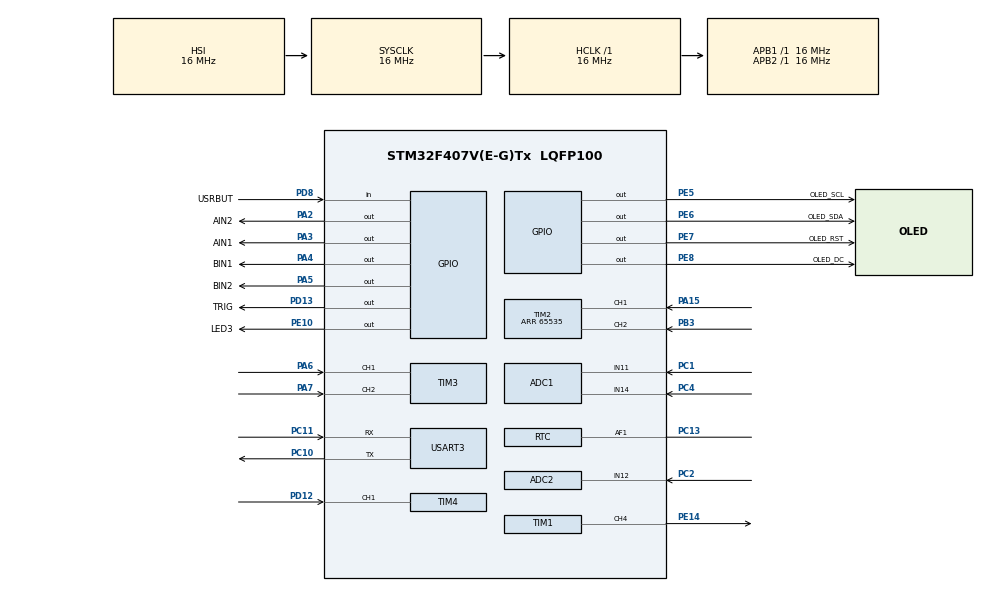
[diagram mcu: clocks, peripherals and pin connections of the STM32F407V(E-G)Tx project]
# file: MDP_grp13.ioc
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ADC1.Channel-0\#ChannelRegularConversion=ADC_CHANNEL_11
ADC1.NbrOfConversionFlag=1
ADC1.Rank-0\#ChannelRegularConversion=1
ADC1.SamplingTime-0\#ChannelRegularConversion=ADC_SAMPLETIME_3CYCLES
ADC1.master=1
ADC2.Channel-0\#ChannelRegularConversion=ADC_CHANNEL_12
ADC2.NbrOfConversionFlag=1
ADC2.Rank-0\#ChannelRegularConversion=1
ADC2.SamplingTime-0\#ChannelRegularConversion=ADC_SAMPLETIME_3CYCLES
FREERTOS.Tasks01=LED_Toggle,40,128,StartDefaultTask,Default,NULL,Dynamic,NULL,NULL;MotorTask,47,128,motor,Default,NULL,Dynamic,NULL,NULL
Mcu.Family=STM32F4
Mcu.Name=STM32F407V(E-G)Tx
Mcu.Package=LQFP100
NVIC.PriorityGroup=NVIC_PRIORITYGROUP_4
NVIC.TIM4_IRQn=true\:5\:0\:false\:false\:true\:true\:true\:true
NVIC.USART3_IRQn=true\:5\:0\:false\:false\:true\:true\:true\:true
PA13.Mode=Serial_Wire
PA13.Signal=SYS_JTMS-SWDIO
PA14.Mode=Serial_Wire
PA14.Signal=SYS_JTCK-SWCLK
PA15.Signal=S_TIM2_CH1_ETR
PA2.GPIO_Label=AIN2
PA2.GPIO_Speed=GPIO_SPEED_FREQ_HIGH
PA2.Signal=GPIO_Output
PA3.GPIO_Label=AIN1
PA3.GPIO_Speed=GPIO_SPEED_FREQ_HIGH
PA3.Signal=GPIO_Output
PA4.GPIO_Label=BIN1
PA4.GPIO_Speed=GPIO_SPEED_FREQ_HIGH
PA4.Signal=GPIO_Output
PA5.GPIO_Label=BIN2
PA5.GPIO_Speed=GPIO_SPEED_FREQ_HIGH
PA5.Signal=GPIO_Output
PA6.Signal=S_TIM3_CH1
PA7.Signal=S_TIM3_CH2
PB3.Signal=S_TIM2_CH2
PC1.Signal=ADCx_IN11
PC10.Mode=Asynchronous
PC10.Signal=USART3_TX
PC11.Mode=Asynchronous
PC11.Signal=USART3_RX
PC13-ANTI_TAMP.Mode=Calibration_1Hz
PC13-ANTI_TAMP.Signal=RTC_AF1
PC2.Signal=ADCx_IN12
PC4.Signal=ADCx_IN14
PC6.GPIO_Label=PWMA
PC6.Signal=S_TIM8_CH1
PC7.GPIO_Label=PWMB
PC7.Signal=S_TIM8_CH2
PD12.Signal=S_TIM4_CH1
PD13.GPIO_Label=TRIG
PD13.Signal=GPIO_Output
PD8.GPIO_Label=USRBUT
PD8.Signal=GPIO_Input
PE10.GPIO_Label=LED3
PE10.Signal=GPIO_Output
PE14.Signal=S_TIM1_CH4
PE5.GPIO_Label=OLED_SCL
PE5.Signal=GPIO_Output
PE6.GPIO_Label=OLED_SDA
PE6.Signal=GPIO_Output
PE7.GPIO_Label=OLED_RST
PE7.Signal=GPIO_Output
PE8.GPIO_Label=OLED_DC
PE8.Signal=GPIO_Output
ProjectManager.HeapSize=0x200
ProjectManager.StackSize=0x400
ProjectManager.TargetToolchain=STM32CubeIDE
RCC.AHBFreq_Value=16000000
RCC.APB1Freq_Value=16000000
RCC.APB2Freq_Value=16000000
RCC.CortexFreq_Value=16000000
RCC.HSE_VALUE=25000000
RCC.HSI_VALUE=16000000
RCC.LSE_VALUE=32768
RCC.SYSCLKFreq_VALUE=16000000
RCC.VCOOutputFreq_Value=192000000
SH.ADCx_IN11.0=ADC1_IN11,IN11
SH.ADCx_IN12.0=ADC2_IN12,IN12
SH.ADCx_IN14.0=ADC1_IN14,IN14
SH.S_TIM1_CH4.0=TIM1_CH4,PWM Generation4 CH4
SH.S_TIM2_CH1_ETR.0=TIM2_CH1,Encoder_Interface
SH.S_TIM2_CH2.0=TIM2_CH2,Encoder_Interface
SH.S_TIM3_CH1.0=TIM3_CH1,Encoder_Interface
SH.S_TIM3_CH2.0=TIM3_CH2,Encoder_Interface
SH.S_TIM4_CH1.0=TIM4_CH1,Input_Capture1_from_TI1
SH.S_TIM8_CH1.0=TIM8_CH1
SH.S_TIM8_CH2.0=TIM8_CH2
TIM1.AutoReloadPreload=TIM_AUTORELOAD_PRELOAD_ENABLE
TIM1.Channel-PWM\ Generation4\ CH4=TIM_CHANNEL_4
TIM1.Period=2000
TIM1.Prescaler=160
TIM2.EncoderMode=TIM_ENCODERMODE_TI12
TIM2.IC1Filter=10
TIM2.IC2Filter=10
TIM2.Period=65535
TIM3.EncoderMode=TIM_ENCODERMODE_TI12
TIM3.IC1Filter=10
TIM3.IC2Filter=10
TIM4.Channel-Input_Capture1_from_TI1=TIM_CHANNEL_1
TIM4.Period=0xffff-1
TIM4.Prescaler=16-1
TIM5.Prescaler=16-1
TIM8.Channel-PWM\ Generation1\ No\ Output=TIM_CHANNEL_1
TIM8.Channel-PWM\ Generation2\ No\ Output=TIM_CHANNEL_2
TIM8.Period=7199
USART3.VirtualMode=VM_ASYNC
VP_FREERTOS_VS_CMSIS_V2.Mode=CMSIS_V2
VP_RTC_VS_RTC_Activate.Mode=RTC_Enabled
VP_TIM1_VS_ClockSourceINT.Mode=Internal
VP_TIM5_VS_ClockSourceINT.Mode=Internal
VP_TIM8_VS_no_output1.Mode=PWM Generation1 No Output
VP_TIM8_VS_no_output2.Mode=PWM Generation2 No Output
board=custom

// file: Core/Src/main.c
/* USER CODE BEGIN Header */
/**
  ******************************************************************************
  * @file           : main.c
  * @brief          : Main program body
  ******************************************************************************
  * @attention
  *
  * Copyright (c) 2022 STMicroelectronics.
  * All rights reserved.
  *
  * This software is licensed under terms that can be found in the LICENSE file
  * in the root directory of this software component.
  * If no LICENSE file comes with this software, it is provided AS-IS.
  *
  *openocd -f openocd.cfg
  *
  *from connection.STM_Connection import*
  *stm = STMConnection()
  *stm.connect_STM()
  *stm.thread_send(b"0")
  *
  *sudo sync && sudo systemctl poweroff
  ******************************************************************************
  */
/* USER CODE END Header */
#include "main.h"
#include "cmsis_os.h"

/* USER CODE BEGIN Includes */
#include "oled.h"
#include "math.h"
#include "PID.h"
#include "profile.h"
#include <time.h>
/* USER CODE END Includes */

/* USER CODE BEGIN PD */
/* PID defines */
#define CMPERREV 0.0132f
#define CMPERREVTURN 0.0141f
#define PID_KP 20000.0f
#define PID_KI 1000.0f
#define PID_KD 0.0f
#define LEFT 108
#define CENTER 149
#define RIGHT 227
#define PWMM 54.0f
#define PWMC 310.0f
#define TURNRATIO 0.8f
#define CIRCUM 305.0f

/* Motion profile defines */
#define AMAX 20.0f //Maximum acceleration
#define VMAX 35.0f //Maximum velocity

#define AMAXT 15.0f
#define VMAXT 25.0f

/* USER CODE END PD */

ADC_HandleTypeDef hadc1;
ADC_HandleTypeDef hadc2;

RTC_HandleTypeDef hrtc;

TIM_HandleTypeDef htim1;
TIM_HandleTypeDef htim2;
TIM_HandleTypeDef htim3;
TIM_HandleTypeDef htim4;
TIM_HandleTypeDef htim5;
TIM_HandleTypeDef htim8;

UART_HandleTypeDef huart3;

/* Definitions for LED_Toggle */
osThreadId_t LED_ToggleHandle;
const osThreadAttr_t LED_Toggle_attributes = {
  .name = "LED_Toggle",
  .stack_size = 128 * 4,
  .priority = (osPriority_t) osPriorityHigh,
};
/* Definitions for MotorTask */
osThreadId_t MotorTaskHandle;
const osThreadAttr_t MotorTask_attributes = {
  .name = "MotorTask",
  .stack_size = 128 * 4,
  .priority = (osPriority_t) osPriorityHigh7,
};

void SystemClock_Config(void);
static void MX_GPIO_Init(void);
static void MX_TIM8_Init(void);
static void MX_TIM2_Init(void);
static void MX_TIM1_Init(void);
static void MX_TIM3_Init(void);
static void MX_TIM4_Init(void);
static void MX_USART3_UART_Init(void);
static void MX_ADC1_Init(void);
static void MX_ADC2_Init(void);
static void MX_RTC_Init(void);
static void MX_TIM5_Init(void);
void StartDefaultTask(void *argument);
void motor(void *argument);

/* USER CODE BEGIN PFP */
void fastestCar();
void PIDmotor(float);
int motorCont(int speedL, int speedR, char dirL, char dirR, double dist);
void degTurn(int);
void forward(int);
void reverse(int);
void spotTurn(int);

/* USER CODE END PFP */

/* USER CODE BEGIN 0 */

int16_t currentLeft, currentRight;
float fLeft,fRight;
int16_t diffl = 0, diffr = 0, avg = 0;
int32_t tick = 0;
uint8_t display[20];
/* Ultrasonic sensor */
uint32_t IC_Val1 = 0;
uint32_t IC_Val2 = 0;
uint32_t Difference = 0;
int Is_First_Captured = 0;  // boolean function
uint16_t Distance = 0;
uint16_t uDistCheck1 = 0; uDistCheck2 = 0; uDistFinal = 0;
uint8_t ultra[20];
/* UART */
uint8_t aRxBuffer[1];
/* IR */
//uint32_t ir1Dist = 0;
uint32_t ir1Dist = 0;
uint32_t ir2Dist = 0;
uint32_t adc1;
uint32_t adc2;
float outLeft =0;
float outRight=0;
float errorLeft=0;
float errorRight=0;
float currDist;
float velocityLeft=0;
float velocityRight=0;
float distanceLeft=0;
float distanceRight=0;
float prePWMLeft;
float prePWMRight;
float pwmLeft = 1800;
float pwmRight = 1500;
float acc;
float vel;
float disp;
float constDisp;

/* Timer variables */
float startSec;
float currSec;

void delay(uint16_t time){  //provide us delay
	__HAL_TIM_SET_COUNTER(&htim4, 0);
	while(__HAL_TIM_GET_COUNTER(&htim4) < time);
}

void HAL_TIM_IC_CaptureCallback(TIM_HandleTypeDef *htim)		//For HCSR04_Read();
{
	if (htim->Channel == HAL_TIM_ACTIVE_CHANNEL_1)  // if the interrupt source is channel1
	{
		if (Is_First_Captured==0) // if the first value is not captured
		{
			IC_Val1 = HAL_TIM_ReadCapturedValue(htim, TIM_CHANNEL_1); // read the first value
			Is_First_Captured = 1;  // set the first captured as true
			// Now change the polarity to falling edge
			__HAL_TIM_SET_CAPTUREPOLARITY(htim, TIM_CHANNEL_1, TIM_INPUTCHANNELPOLARITY_FALLING);
		}

		else if (Is_First_Captured==1)   // if the first is already captured
		{
			IC_Val2 = HAL_TIM_ReadCapturedValue(htim, TIM_CHANNEL_1);  // read second value
			__HAL_TIM_SET_COUNTER(htim, 0);  // reset the counter

			if (IC_Val2 > IC_Val1) {
				Difference = IC_Val2-IC_Val1;
			}

			else if (IC_Val1 > IC_Val2) {
				Difference = (0xffff - IC_Val1) + IC_Val2;
			}

			Distance = Difference * .034/2;
			Is_First_Captured = 0; // set it back to false

			// set polarity to rising edge
			__HAL_TIM_SET_CAPTUREPOLARITY(htim, TIM_CHANNEL_1, TIM_INPUTCHANNELPOLARITY_RISING);
			__HAL_TIM_DISABLE_IT(&htim4, TIM_IT_CC1);
		}
	}
}

uint16_t HCSR04_Read (void)		//Read Ultrasonic Distance
{
	HAL_GPIO_WritePin(TRIG_GPIO_Port, TRIG_Pin, GPIO_PIN_SET);  // pull the TRIG pin HIGH
	delay(10);  // wait for 10 us
	HAL_GPIO_WritePin(TRIG_GPIO_Port, TRIG_Pin, GPIO_PIN_RESET);  // pull the TRIG pin low

	__HAL_TIM_ENABLE_IT(&htim4, TIM_IT_CC1);
	return Distance;
}

uint16_t ultraDistCheck (void)
{
	uDistCheck1 = HCSR04_Read();
	HAL_Delay(100);
	uDistCheck2 = HCSR04_Read();
	HAL_Delay(100);
	while (abs(uDistCheck1 - uDistCheck2) >= 5) {
		uDistCheck1 = HCSR04_Read();
		HAL_Delay(100);
		uDistCheck2 = HCSR04_Read();
		HAL_Delay(100);
	}
	uDistFinal = (uDistCheck1 + uDistCheck2)/2;
	return uDistFinal;
}

uint32_t irLeft (void) { //ADC1 (a bit more wonky)
	adc1 = 0;
	float V = 0;
	HAL_ADC_Start(&hadc1);
	adc1 = HAL_ADC_GetValue(&hadc1);
	V = (float)adc1/1000;

	if (V <= 0.5) V = 0.5; //cap at 80 cm
	else if (V >= 2.84) V = 2.84; //cap at 10 cm

	ir1Dist = 34.96332 * pow(V, -1.19878);
	return ir1Dist;
}

uint32_t irRight (void) { //ADC2
	adc2 = 0;
	float V = 0;
	HAL_ADC_Start(&hadc2);
	adc2 = HAL_ADC_GetValue(&hadc2);
	V = (float)adc2/1000;

	if (V <= 0.42) V = 0.44; //cap at 80 cm
	else if (V >= 2.9) V = 2.95; //cap at 10 cm

	ir2Dist = 32.6167 * pow(V, -1.0928);
	return ir2Dist;
}

void waitCmd (void) {
	while (*aRxBuffer == 'Z') {
		HAL_UART_Receive_IT(&huart3, (uint8_t *)aRxBuffer, 1);
		HAL_Delay(100);
	}
}

void fastestCar(){
	/* (1) Start straight line loop */
	//maybe can move 40cm first
	PIDmotor(40);

	while(ultraDistCheck()>40){
		/* Increase RPM until ??? */

		/* Break to new loop for slowing down */
//		if(ultraDistCheck()<=40){
//			break;
//		}
	}

	/* (2) Slow down car to prepare for turning */
	while(1){
		//Slow down code

		if(ultraDistCheck()<=20){	//turn right
//			htim1.Instance->CCR4 = RIGHT;
//			HAL_Delay(1000);
//			htim1.Instance->CCR4 = LEFT;
			fastCarTurn(1);
			break;
		}
	}

	/* (3) Move until near end of obstacle's corner */
	int x=0;
	while(1){
		/* Constant Speed & calculate dist moved */

		irLeft();
		if(irLeft()>=30){	//turn 180?
//			htim1.Instance->CCR4 = LEFT;
//			HAL_Delay(1000);
//			htim1.Instance->CCR4 = CENTER;
//			HAL_Delay(1000);
//			htim1.Instance->CCR4 = LEFT;
//			HAL_Delay(1000);
//			htim1.Instance->CCR4 = RIGHT;
			fastCarTurn(2);
			break;
		}

	}
	//see if nd correct to be straight

	/* (4) Move 50cm */
	PIDmotor(50);

	/* (5) Move straight until centre of obstacle */
	//Calculate Dist to move
	int y = 60 - x - 10;	//extra to make space for turning
	//Move Dist
	PIDmotor(y);

	//Turn Right
	fastCarTurn(1);

	/* (6) Move back to parking spot */
	while(1){
		//Move straight

		if(ultraDistCheck() <= 20){
			//Stop
			break;
		}
	}
}

void fastCarTurn(int mode) {
	switch (mode) {
	case 1:	//90 degree
		htim1.Instance->CCR4 = LEFT;
		HAL_Delay(500);
		htim1.Instance->CCR4 = RIGHT;
		HAL_Delay(500);
		PIDturn(90,2);
		PIDmotor(6);
		break;
	case 2: //180 degree
		htim1.Instance->CCR4 = LEFT;
		HAL_Delay(500);
		htim1.Instance->CCR4 = RIGHT;
		HAL_Delay(500);
//		PIDturn(180,2);
		break;
	}
}

void corrMotor(){
		int x = ultraDistCheck();
		int y = abs(22 - x);
		if (x > 22 && x < 40) {
			PIDmotor(y);
		} else if (x < 22) {
			PIDmotor(-y);
		}
}

void correctAngle(int mode) {
	switch(mode) {
	case 1:	//leftIR detect
		htim1.Instance->CCR4 = RIGHT;
		HAL_Delay(150);
		motorCont(1000, 1000, 'R', 'R', 1);
		htim1.Instance->CCR4 = LEFT;
		HAL_Delay(150);
		motorCont(1000, 1000, 'F', 'F', 1);
		htim1.Instance->CCR4 = CENTER;
		break;
	case 2:	//rightIR detect
		htim1.Instance->CCR4 =LEFT;
		HAL_Delay(150);
		motorCont(1000, 1000, 'R', 'R', 1);
		htim1.Instance->CCR4 = RIGHT;
		HAL_Delay(150);
		motorCont(1000, 1000, 'F', 'F', 1);
		htim1.Instance->CCR4 = CENTER;
		break;
	}
	HAL_Delay(50);

	if(ultraDistCheck() < 20){
		PIDmotor(-3);
	}
	if(ultraDistCheck() > 20 && uDistFinal < 40){
		PIDmotor(3);
	}
}

void correction(){
	*aRxBuffer = 'Z';
	int mode;
	irLeft(); irRight();
	if (irLeft() < 35 || irRight() < 35 || ultraDistCheck() > 40) {

		//--move forward until ir sense || cap 3 movements--
		for (int i = 0; i<3; i++){
			irLeft(); irRight();
			if (irLeft() < 35 || irRight() < 35 || ultraDistCheck() < 20) {
				break;
			}
			PIDmotor(5);
		}

		//--set mode--
		uint32_t L = irLeft(); 	//to make below coherent
		uint32_t R = irRight();
		if (L < 35 && R < 35) {	// both detected
			//can it judge base on positioning of obstacles on algo?
		}
		else if (L < 35 && L < R) {mode = 1;}
		else if (R < 35 && R < L) {mode = 2;}

		//--start angle correction until no detect || cap 3 movements--
		int cnt = 5;
		if (mode == 1) {
			while (cnt > 0 && irLeft() < 35) {
				correctAngle(1);
				cnt--;
				irLeft();
			}
		} else if (mode == 2) {
			while (cnt > 0 && irRight() < 35) {
				correctAngle(2);
				cnt--;
				irRight();
			}
		}
	}
	corrMotor();
}

void motorSpeed(float left, float right){
	if(left<0){
		HAL_GPIO_WritePin(GPIOA, AIN1_Pin, GPIO_PIN_RESET);
		HAL_GPIO_WritePin(GPIOA, AIN2_Pin, GPIO_PIN_SET);
		left = fabs(left);
	}
	else if(left>0){
		HAL_GPIO_WritePin(GPIOA, AIN1_Pin, GPIO_PIN_SET);
		HAL_GPIO_WritePin(GPIOA, AIN2_Pin, GPIO_PIN_RESET);
	}
	if(right<0){
		HAL_GPIO_WritePin(GPIOA, BIN1_Pin, GPIO_PIN_RESET);
		HAL_GPIO_WritePin(GPIOA, BIN2_Pin, GPIO_PIN_SET);
		right = fabs(right);
	}
	else if(right>0){
		HAL_GPIO_WritePin(GPIOA, BIN1_Pin, GPIO_PIN_SET);
		HAL_GPIO_WritePin(GPIOA, BIN2_Pin, GPIO_PIN_RESET);
	}
	__HAL_TIM_SetCompare(&htim8,TIM_CHANNEL_1, left);
	__HAL_TIM_SetCompare(&htim8,TIM_CHANNEL_2, right);
}

/* ========================= PID Functions ========================= */

/* Read current encoder values */
void readEncoder(){ //Forward = Positive, Backwards = negative
	currentLeft = __HAL_TIM_GET_COUNTER(&htim2);
	fLeft = currentLeft *-1*CMPERREV;

	currentRight = __HAL_TIM_GET_COUNTER(&htim3);
	fRight = currentRight * CMPERREV;
}

/* Time value functions, in seconds with decimals */
float getTime(){
	return __HAL_TIM_GET_COUNTER(&htim5)/1e6f;
}

void timeStart(){
	startSec = getTime();
}

float timeNow(){
	currSec = getTime() - startSec;
	return currSec;
}

float forwardFeed(float vel){
	return vel*PWMM+PWMC;
}

/* Master function for motor with PID control */
void PIDmotor(float setDist){

	/* Turn servo to extreme end before centering for higher accuracy */
	htim1.Instance->CCR4 = LEFT;
	HAL_Delay(500);
	htim1.Instance->CCR4 = CENTER+3;
	HAL_Delay(500);

	/* Set UARTBuffer to default value */
	*aRxBuffer = 'Z';

	/* Set distance of motors */
	float setDistLeft  = setDist;
	float setDistRight = setDist;

	/* Initialise PID Controllers */
	PIDController pidLeft = {PID_KP,PID_KI,PID_KD,0,-3000,3000,-150,150,prePWMLeft,1.0f};
	PIDController pidRight ={PID_KP,PID_KI,PID_KD,0,-3000,3000,-150,150,prePWMRight,1.0f};
	Profile profileLeft;
	Profile profileRight;

	/* Initialise and set Encoder to 0 */
	HAL_TIM_Base_Start(&htim5);
	HAL_TIM_Encoder_Start(&htim2, TIM_CHANNEL_ALL);		//left encoder(MotorA) start
	HAL_TIM_Encoder_Start(&htim3, TIM_CHANNEL_ALL);		//right encoder(MotorB) start
	__HAL_TIM_SET_COUNTER(&htim2,0);
	__HAL_TIM_SET_COUNTER(&htim3,0);

	/* Initialise PID controllers and profiles */
	PIDController_Init(&pidLeft);
	PIDController_Init(&pidRight);

	Profile_Init(&profileLeft);
	Profile_Init(&profileRight);
	float time = trapezoidal(&profileLeft, setDistLeft, AMAX, VMAX);
	trapezoidal(&profileRight, setDistRight, AMAX, VMAX);
	constDisp = profileRight.constDisp;

	timeStart();
	while(timeNow()<time){

		/* Take current encoder values */
		readEncoder();
		currProfile(&profileLeft, currSec);
		currProfile(&profileRight, currSec);

		/* Calculate feed forward of motors */
		prePWMLeft=forwardFeed(profileLeft.currVel);
		prePWMRight=forwardFeed(profileRight.currVel);

		/* For debug purposes */
		distanceLeft = profileLeft.disp;
		distanceRight = profileRight.disp;
		acc = profileLeft.currAcc;
		vel = profileRight.currVel;
		disp = profileLeft.currDisp;

		/* Compute new control signal */
		outLeft = PIDController_Update(&pidLeft, profileLeft.currDisp, fLeft, prePWMLeft);
		outRight = PIDController_Update(&pidRight, profileRight.currDisp, fRight, prePWMRight);

		/* Update new values to motors */
		motorSpeed(outLeft, outRight);
		errorLeft = pidLeft.prevError;
		errorRight = pidRight.prevError;
	}

	/* Stop Motor */
	motorSpeed(0,0);

	/* Reset Encoders value */
	__HAL_TIM_SET_COUNTER(&htim2,0);
	__HAL_TIM_SET_COUNTER(&htim3,0);
}

/* Calculate turn ratio */
float calculateTurn(float dist){
	//return ((dist / (2 * 3.14)) - 16) / (dist / (2 *3.14));
	return 0.793;
}

/* Read encoder values for turn */
void readEncoderTurn(){ //Forward = Positive, Backwards = negative
	currentLeft = __HAL_TIM_GET_COUNTER(&htim2);
	fLeft = currentLeft *-1*CMPERREVTURN;

	currentRight = __HAL_TIM_GET_COUNTER(&htim3);
	fRight = currentRight * CMPERREVTURN;
}

void PIDturn(float degree, int turn){

	/* Set UARTBuffer to default value */
	*aRxBuffer = 'Z';

	/* Calibrate motors */
	float setDist = CIRCUM * (degree/360);
	float turnRatio = calculateTurn(CIRCUM);

	/* Initialise PID Controllers */
	PIDController pidLeft = {PID_KP,PID_KI,PID_KD,0,-3000,3000,-150,150,prePWMLeft,1.0f};
	PIDController pidRight ={PID_KP,PID_KI,PID_KD,0,-3000,3000,-150,150,prePWMRight,1.0f};
	Profile profileLeft;
	Profile profileRight;

	/* Initialise and set Encoder to 0 */
	HAL_TIM_Base_Start(&htim5);
	HAL_TIM_Encoder_Start(&htim2, TIM_CHANNEL_ALL);		//left encoder(MotorA) start
	HAL_TIM_Encoder_Start(&htim3, TIM_CHANNEL_ALL);		//right encoder(MotorB) start
	__HAL_TIM_SET_COUNTER(&htim2,0);
	__HAL_TIM_SET_COUNTER(&htim3,0);

	/* Initialise PID controllers and profiles */
	PIDController_Init(&pidLeft);
	PIDController_Init(&pidRight);

	/* if right turn does not achieve 90 degree, set a higher set distance */
	if(turn==2)
		setDist = setDist * 1.01;

	/* Initialise motion profile and get total time for movement */
	Profile_Init(&profileLeft);
	float time = trapezoidal(&profileLeft, setDist, AMAXT, VMAXT);

	timeStart();
	while(timeNow()<time){

		/* Take current encoder values */
		readEncoderTurn();
		currProfile(&profileLeft, currSec);

		/* Compute new control signal */
		if(turn==1){ //Left Turn

			/* Constantly calculate the correct feed forward */
			prePWMLeft=forwardFeed(profileLeft.currVel * turnRatio);
			prePWMRight=forwardFeed(profileLeft.currVel);

			/* Reduce inner wheel distance and speed for turning */
			distanceLeft = profileLeft.currDisp * turnRatio;
			distanceRight = profileLeft.currDisp;

			outLeft = PIDController_Update(&pidLeft, distanceLeft, fLeft, prePWMLeft);
			outRight = PIDController_Update(&pidRight, distanceRight, fRight, prePWMRight);

			/* Update new values to motors */
			motorSpeed(outLeft, outRight);
			errorLeft = pidLeft.prevError;
			errorRight = pidRight.prevError;
		}
		else{

			prePWMLeft=forwardFeed(profileLeft.currVel);
			prePWMRight=forwardFeed(profileLeft.currVel * turnRatio);
			distanceLeft = profileLeft.currDisp;
			distanceRight = profileLeft.currDisp * turnRatio;

			outLeft = PIDController_Update(&pidLeft, distanceLeft, fLeft, prePWMLeft);
			outRight = PIDController_Update(&pidRight, distanceRight, fRight, prePWMRight);

			/* Update new values to motors */
			motorSpeed(outLeft, outRight);
			errorLeft = pidLeft.prevError;
			errorRight = pidRight.prevError;
			}
	}

	/* Stop Motor */
	motorSpeed(0,0);

	/* Reset Encoders value */
	__HAL_TIM_SET_COUNTER(&htim2,0);
	__HAL_TIM_SET_COUNTER(&htim3,0);
}

//Master function for image recognition motor control
int motorCont(int speedL, int speedR, char dirL, char dirR, double dist){
	*aRxBuffer = 'Z';
	//declaration
	HAL_TIM_Encoder_Start(&htim2, TIM_CHANNEL_ALL);		//left encoder(MotorA) start
	HAL_TIM_Encoder_Start(&htim3, TIM_CHANNEL_ALL);		//right encoder(MotorB) start
	currentLeft = __HAL_TIM_GET_COUNTER(&htim2);
	currentRight = __HAL_TIM_GET_COUNTER(&htim3);
	tick = HAL_GetTick();
	double encDist = dist * 72;

	//Select direction of motor//
	switch(dirL){
		case 'F':
			HAL_GPIO_WritePin(GPIOA, AIN1_Pin, GPIO_PIN_SET);
			HAL_GPIO_WritePin(GPIOA, AIN2_Pin, GPIO_PIN_RESET);
			break;

		case 'R':
			HAL_GPIO_WritePin(GPIOA, AIN1_Pin, GPIO_PIN_RESET);
			HAL_GPIO_WritePin(GPIOA, AIN2_Pin, GPIO_PIN_SET);
			break;
	}

	switch(dirR){
		case 'F':
			HAL_GPIO_WritePin(GPIOA, BIN1_Pin, GPIO_PIN_SET);
			HAL_GPIO_WritePin(GPIOA, BIN2_Pin, GPIO_PIN_RESET);
			break;

		case 'R':
			HAL_GPIO_WritePin(GPIOA, BIN1_Pin, GPIO_PIN_RESET);
			HAL_GPIO_WritePin(GPIOA, BIN2_Pin, GPIO_PIN_SET);
			break;
	}
	//End of motor direction selection//

	__HAL_TIM_SetCompare(&htim8,TIM_CHANNEL_1, speedL);
	__HAL_TIM_SetCompare(&htim8,TIM_CHANNEL_2, speedR);

	while(1){
			currentLeft = __HAL_TIM_GET_COUNTER(&htim2);
			currentRight = __HAL_TIM_GET_COUNTER(&htim3);
			diffl = abs(currentLeft);
			diffr =abs(currentRight);
			avg = abs((diffl+diffr)/2);
			sprintf(display,"Left:%5d\0", diffl/68);
			OLED_ShowString(10,35,display);
			sprintf(display,"Right:%5d\0", diffr/68);
			OLED_ShowString(10,50,display);
			OLED_Refresh_Gram();

			if(avg>=encDist){
				__HAL_TIM_SetCompare(&htim8,TIM_CHANNEL_1, 0);
				__HAL_TIM_SetCompare(&htim8,TIM_CHANNEL_2, 0);
				HAL_Delay(500);
				break;
			}

		}
		__HAL_TIM_SET_COUNTER(&htim2,0);
		__HAL_TIM_SET_COUNTER(&htim3,0);

		speedL=speedR=tick=diffl=diffr=0;
		OLED_Refresh_Gram();
		*aRxBuffer = 'Z';
}

void degTurn(int mode){
	switch(mode){
	case 1: //Turn left
			htim1.Instance->CCR4 = LEFT;
			HAL_Delay(100);
			motorCont(500,2200,'F','F',105*0.57);
			htim1.Instance->CCR4 = CENTER;
			break;
	case 2:
			htim1.Instance->CCR4 = RIGHT;
			HAL_Delay(100);
			motorCont(2200,500,'F','F',100*0.57);
			HAL_Delay(50);
			htim1.Instance->CCR4 = CENTER;
			break;
	}
}

void forward(int mode){ //Forward for image recognition
	HAL_Delay(100);
	switch(mode){
	case 0:
			motorCont(pwmLeft, pwmRight, 'F', 'F', 100);break;
	case 1:
			motorCont(pwmLeft, pwmRight, 'F', 'F', 8);break;
	case 2:
			motorCont(pwmLeft, pwmRight, 'F', 'F', 18);break;
	case 3:
			motorCont(pwmLeft, pwmRight, 'F', 'F', 28);break;
	case 4:
			motorCont(pwmLeft, pwmRight, 'F', 'F', 38);break;
	case 5:
			motorCont(pwmLeft, pwmRight, 'F', 'F', 49);break;
	case 6:
			motorCont(pwmLeft, pwmRight, 'F', 'F', 60);break;
	case 7:
			motorCont(pwmLeft, pwmRight, 'F', 'F', 70);break;
	case 8:
			motorCont(pwmLeft, pwmRight, 'F', 'F', 80);break;
	case 9:
			motorCont(pwmLeft, pwmRight, 'F', 'F', 90);break;
	}
}

void reverse(int mode){//Reverse for image recognition
	HAL_Delay(100);
	switch(mode){
	case 0:
			motorCont(pwmLeft, pwmRight, 'R', 'R', 100);break;
	case 1:
			motorCont(pwmLeft, pwmRight,'R', 'R', 6);break;
	case 2:
			motorCont(pwmLeft, pwmRight,'R', 'R', 18);break;
	case 3:
			motorCont(pwmLeft, pwmRight, 'R', 'R', 28);break;
	case 4:
			motorCont(pwmLeft, pwmRight, 'R', 'R', 38);break;
	case 5:
			motorCont(pwmLeft, pwmRight,'R', 'R', 49);break;
	case 6:
			motorCont(pwmLeft, pwmRight, 'R', 'R', 60);break;
	case 7:
			motorCont(pwmLeft, pwmRight, 'R', 'R', 70);break;
	case 8:
			motorCont(pwmLeft, pwmRight, 'R', 'R', 80);break;
	case 9:
			motorCont(pwmLeft, pwmRight, 'R', 'R', 90);break;

	}
}

void spotTurn(int mode){
	float var = 1;
	float left = 1.0;
	float turn1 = 20*var;
	float turn2 = 21*var;
	float turn3 = 3*var;
	float turn4 = turn3;
	switch(mode){
	case 1: //Turn left
		htim1.Instance->CCR4 = LEFT;
		HAL_Delay(500);
		motorCont(700, 2100, 'F', 'F', turn1*left);
		htim1.Instance->CCR4 = CENTER;
		HAL_Delay(500);
		motorCont(2100, 700, 'R', 'R', turn2*left);
		htim1.Instance->CCR4 = LEFT;
		HAL_Delay(500);
		motorCont(700, 2100, 'F', 'F', turn3);
		HAL_Delay(50);
		htim1.Instance->CCR4 = CENTER;
		HAL_Delay(500);
		motorCont(1500, 1500, 'F', 'F', 5.5);
		break;
	case 2: //Turn right
		htim1.Instance->CCR4 = RIGHT;
		HAL_Delay(500);
		motorCont(2100, 700, 'F', 'F', turn1);
		htim1.Instance->CCR4 = LEFT;
		HAL_Delay(500);
		motorCont(700, 2100, 'R', 'R', turn2);
		htim1.Instance->CCR4 = RIGHT;
		HAL_Delay(500);
		motorCont(2100, 700, 'F', 'F', turn4);
		HAL_Delay(50);
		htim1.Instance->CCR4 = CENTER;
		HAL_Delay(500);
		motorCont(1500, 1500, 'F', 'F', 2);
		break;
	}
}

/* USER CODE END 0 */

int main(void)
{

  /* MCU Configuration--------------------------------------------------------*/

  /* Reset of all peripherals, Initializes the Flash interface and the Systick. */
  HAL_Init();

  /* Configure the system clock */
  SystemClock_Config();

  /* Initialize all configured peripherals */
  MX_GPIO_Init();
  MX_TIM8_Init();
  MX_TIM2_Init();
  MX_TIM1_Init();
  MX_TIM3_Init();
  MX_TIM4_Init();
  MX_USART3_UART_Init();
  MX_ADC1_Init();
  MX_ADC2_Init();
  MX_RTC_Init();
  MX_TIM5_Init();
  /* USER CODE BEGIN 2 */
  HAL_TIM_IC_Start_IT(&htim4, TIM_CHANNEL_1);
  HAL_UART_Receive_IT(&huart3, (uint8_t *) aRxBuffer, 1);
  OLED_Init();
  /* USER CODE END 2 */

  /* Init scheduler */
  osKernelInitialize();

  /* Create the thread(s) */
  /* creation of LED_Toggle */
  LED_ToggleHandle = osThreadNew(StartDefaultTask, NULL, &LED_Toggle_attributes);

  /* creation of MotorTask */
  MotorTaskHandle = osThreadNew(motor, NULL, &MotorTask_attributes);

  /* Start scheduler */
  osKernelStart();

  /* We should never get here as control is now taken by the scheduler */
  /* Infinite loop */
  while (1)
  {

  }
}

void SystemClock_Config(void)
{
  RCC_OscInitTypeDef RCC_OscInitStruct = {0};
  RCC_ClkInitTypeDef RCC_ClkInitStruct = {0};

  /** Configure the main internal regulator output voltage
  */
  __HAL_RCC_PWR_CLK_ENABLE();
  __HAL_PWR_VOLTAGESCALING_CONFIG(PWR_REGULATOR_VOLTAGE_SCALE1);
  /** Initializes the RCC Oscillators according to the specified parameters
  * in the RCC_OscInitTypeDef structure.
  */
  RCC_OscInitStruct.OscillatorType = RCC_OSCILLATORTYPE_HSI|RCC_OSCILLATORTYPE_LSI;
  RCC_OscInitStruct.HSIState = RCC_HSI_ON;
  RCC_OscInitStruct.HSICalibrationValue = RCC_HSICALIBRATION_DEFAULT;
  RCC_OscInitStruct.LSIState = RCC_LSI_ON;
  RCC_OscInitStruct.PLL.PLLState = RCC_PLL_NONE;
  if (HAL_RCC_OscConfig(&RCC_OscInitStruct) != HAL_OK)
  {
    Error_Handler();
  }
  /** Initializes the CPU, AHB and APB buses clocks
  */
  RCC_ClkInitStruct.ClockType = RCC_CLOCKTYPE_HCLK|RCC_CLOCKTYPE_SYSCLK
                              |RCC_CLOCKTYPE_PCLK1|RCC_CLOCKTYPE_PCLK2;
  RCC_ClkInitStruct.SYSCLKSource = RCC_SYSCLKSOURCE_HSI;
  RCC_ClkInitStruct.AHBCLKDivider = RCC_SYSCLK_DIV1;
  RCC_ClkInitStruct.APB1CLKDivider = RCC_HCLK_DIV1;
  RCC_ClkInitStruct.APB2CLKDivider = RCC_HCLK_DIV1;

  if (HAL_RCC_ClockConfig(&RCC_ClkInitStruct, FLASH_LATENCY_0) != HAL_OK)
  {
    Error_Handler();
  }
}

static void MX_ADC1_Init(void)
{

  ADC_ChannelConfTypeDef sConfig = {0};

  /** Configure the global features of the ADC (Clock, Resolution, Data Alignment and number of conversion)
  */
  hadc1.Instance = ADC1;
  hadc1.Init.ClockPrescaler = ADC_CLOCK_SYNC_PCLK_DIV2;
  hadc1.Init.Resolution = ADC_RESOLUTION_12B;
  hadc1.Init.ScanConvMode = DISABLE;
  hadc1.Init.ContinuousConvMode = DISABLE;
  hadc1.Init.DiscontinuousConvMode = DISABLE;
  hadc1.Init.ExternalTrigConvEdge = ADC_EXTERNALTRIGCONVEDGE_NONE;
  hadc1.Init.ExternalTrigConv = ADC_SOFTWARE_START;
  hadc1.Init.DataAlign = ADC_DATAALIGN_RIGHT;
  hadc1.Init.NbrOfConversion = 1;
  hadc1.Init.DMAContinuousRequests = DISABLE;
  hadc1.Init.EOCSelection = ADC_EOC_SINGLE_CONV;
  if (HAL_ADC_Init(&hadc1) != HAL_OK)
  {
    Error_Handler();
  }
  /** Configure for the selected ADC regular channel its corresponding rank in the sequencer and its sample time.
  */
  sConfig.Channel = ADC_CHANNEL_11;
  sConfig.Rank = 1;
  sConfig.SamplingTime = ADC_SAMPLETIME_3CYCLES;
  if (HAL_ADC_ConfigChannel(&hadc1, &sConfig) != HAL_OK)
  {
    Error_Handler();
  }

}

static void MX_ADC2_Init(void)
{

  ADC_ChannelConfTypeDef sConfig = {0};

  /** Configure the global features of the ADC (Clock, Resolution, Data Alignment and number of conversion)
  */
  hadc2.Instance = ADC2;
  hadc2.Init.ClockPrescaler = ADC_CLOCK_SYNC_PCLK_DIV2;
  hadc2.Init.Resolution = ADC_RESOLUTION_12B;
  hadc2.Init.ScanConvMode = DISABLE;
  hadc2.Init.ContinuousConvMode = DISABLE;
  hadc2.Init.DiscontinuousConvMode = DISABLE;
  hadc2.Init.ExternalTrigConvEdge = ADC_EXTERNALTRIGCONVEDGE_NONE;
  hadc2.Init.ExternalTrigConv = ADC_SOFTWARE_START;
  hadc2.Init.DataAlign = ADC_DATAALIGN_RIGHT;
  hadc2.Init.NbrOfConversion = 1;
  hadc2.Init.DMAContinuousRequests = DISABLE;
  hadc2.Init.EOCSelection = ADC_EOC_SINGLE_CONV;
  if (HAL_ADC_Init(&hadc2) != HAL_OK)
  {
    Error_Handler();
  }
  /** Configure for the selected ADC regular channel its corresponding rank in the sequencer and its sample time.
  */
  sConfig.Channel = ADC_CHANNEL_12;
  sConfig.Rank = 1;
  sConfig.SamplingTime = ADC_SAMPLETIME_3CYCLES;
  if (HAL_ADC_ConfigChannel(&hadc2, &sConfig) != HAL_OK)
  {
    Error_Handler();
  }

}

static void MX_RTC_Init(void)
{

  /** Initialize RTC Only
  */
  hrtc.Instance = RTC;
  hrtc.Init.HourFormat = RTC_HOURFORMAT_24;
  hrtc.Init.AsynchPrediv = 127;
  hrtc.Init.SynchPrediv = 255;
  hrtc.Init.OutPut = RTC_OUTPUT_DISABLE;
  hrtc.Init.OutPutPolarity = RTC_OUTPUT_POLARITY_HIGH;
  hrtc.Init.OutPutType = RTC_OUTPUT_TYPE_OPENDRAIN;
  if (HAL_RTC_Init(&hrtc) != HAL_OK)
  {
    Error_Handler();
  }
  /** Enable Calibrartion
  */
  if (HAL_RTCEx_SetCalibrationOutPut(&hrtc, RTC_CALIBOUTPUT_1HZ) != HAL_OK)
  {
    Error_Handler();
  }

}

static void MX_TIM1_Init(void)
{

  TIM_ClockConfigTypeDef sClockSourceConfig = {0};
  TIM_MasterConfigTypeDef sMasterConfig = {0};
  TIM_OC_InitTypeDef sConfigOC = {0};
  TIM_BreakDeadTimeConfigTypeDef sBreakDeadTimeConfig = {0};

  htim1.Instance = TIM1;
  htim1.Init.Prescaler = 160;
  htim1.Init.CounterMode = TIM_COUNTERMODE_UP;
  htim1.Init.Period = 2000;
  htim1.Init.ClockDivision = TIM_CLOCKDIVISION_DIV1;
  htim1.Init.RepetitionCounter = 0;
  htim1.Init.AutoReloadPreload = TIM_AUTORELOAD_PRELOAD_ENABLE;
  if (HAL_TIM_Base_Init(&htim1) != HAL_OK)
  {
    Error_Handler();
  }
  sClockSourceConfig.ClockSource = TIM_CLOCKSOURCE_INTERNAL;
  if (HAL_TIM_ConfigClockSource(&htim1, &sClockSourceConfig) != HAL_OK)
  {
    Error_Handler();
  }
  if (HAL_TIM_PWM_Init(&htim1) != HAL_OK)
  {
    Error_Handler();
  }
  sMasterConfig.MasterOutputTrigger = TIM_TRGO_RESET;
  sMasterConfig.MasterSlaveMode = TIM_MASTERSLAVEMODE_DISABLE;
  if (HAL_TIMEx_MasterConfigSynchronization(&htim1, &sMasterConfig) != HAL_OK)
  {
    Error_Handler();
  }
  sConfigOC.OCMode = TIM_OCMODE_PWM1;
  sConfigOC.Pulse = 0;
  sConfigOC.OCPolarity = TIM_OCPOLARITY_HIGH;
  sConfigOC.OCFastMode = TIM_OCFAST_DISABLE;
  sConfigOC.OCIdleState = TIM_OCIDLESTATE_RESET;
  sConfigOC.OCNIdleState = TIM_OCNIDLESTATE_RESET;
  if (HAL_TIM_PWM_ConfigChannel(&htim1, &sConfigOC, TIM_CHANNEL_4) != HAL_OK)
  {
    Error_Handler();
  }
  sBreakDeadTimeConfig.OffStateRunMode = TIM_OSSR_DISABLE;
  sBreakDeadTimeConfig.OffStateIDLEMode = TIM_OSSI_DISABLE;
  sBreakDeadTimeConfig.LockLevel = TIM_LOCKLEVEL_OFF;
  sBreakDeadTimeConfig.DeadTime = 0;
  sBreakDeadTimeConfig.BreakState = TIM_BREAK_DISABLE;
  sBreakDeadTimeConfig.BreakPolarity = TIM_BREAKPOLARITY_HIGH;
  sBreakDeadTimeConfig.AutomaticOutput = TIM_AUTOMATICOUTPUT_DISABLE;
  if (HAL_TIMEx_ConfigBreakDeadTime(&htim1, &sBreakDeadTimeConfig) != HAL_OK)
  {
    Error_Handler();
  }
  HAL_TIM_MspPostInit(&htim1);

}

static void MX_TIM2_Init(void)
{

  TIM_Encoder_InitTypeDef sConfig = {0};
  TIM_MasterConfigTypeDef sMasterConfig = {0};

  htim2.Instance = TIM2;
  htim2.Init.Prescaler = 0;
  htim2.Init.CounterMode = TIM_COUNTERMODE_UP;
  htim2.Init.Period = 65535;
  htim2.Init.ClockDivision = TIM_CLOCKDIVISION_DIV1;
  htim2.Init.AutoReloadPreload = TIM_AUTORELOAD_PRELOAD_DISABLE;
  sConfig.EncoderMode = TIM_ENCODERMODE_TI12;
  sConfig.IC1Polarity = TIM_ICPOLARITY_RISING;
  sConfig.IC1Selection = TIM_ICSELECTION_DIRECTTI;
  sConfig.IC1Prescaler = TIM_ICPSC_DIV1;
  sConfig.IC1Filter = 10;
  sConfig.IC2Polarity = TIM_ICPOLARITY_RISING;
  sConfig.IC2Selection = TIM_ICSELECTION_DIRECTTI;
  sConfig.IC2Prescaler = TIM_ICPSC_DIV1;
  sConfig.IC2Filter = 10;
  if (HAL_TIM_Encoder_Init(&htim2, &sConfig) != HAL_OK)
  {
    Error_Handler();
  }
  sMasterConfig.MasterOutputTrigger = TIM_TRGO_RESET;
  sMasterConfig.MasterSlaveMode = TIM_MASTERSLAVEMODE_DISABLE;
  if (HAL_TIMEx_MasterConfigSynchronization(&htim2, &sMasterConfig) != HAL_OK)
  {
    Error_Handler();
  }

}

static void MX_TIM3_Init(void)
{

  TIM_Encoder_InitTypeDef sConfig = {0};
  TIM_MasterConfigTypeDef sMasterConfig = {0};

  htim3.Instance = TIM3;
  htim3.Init.Prescaler = 0;
  htim3.Init.CounterMode = TIM_COUNTERMODE_UP;
  htim3.Init.Period = 65535;
  htim3.Init.ClockDivision = TIM_CLOCKDIVISION_DIV1;
  htim3.Init.AutoReloadPreload = TIM_AUTORELOAD_PRELOAD_DISABLE;
  sConfig.EncoderMode = TIM_ENCODERMODE_TI12;
  sConfig.IC1Polarity = TIM_ICPOLARITY_RISING;
  sConfig.IC1Selection = TIM_ICSELECTION_DIRECTTI;
  sConfig.IC1Prescaler = TIM_ICPSC_DIV1;
  sConfig.IC1Filter = 10;
  sConfig.IC2Polarity = TIM_ICPOLARITY_RISING;
  sConfig.IC2Selection = TIM_ICSELECTION_DIRECTTI;
  sConfig.IC2Prescaler = TIM_ICPSC_DIV1;
  sConfig.IC2Filter = 10;
  if (HAL_TIM_Encoder_Init(&htim3, &sConfig) != HAL_OK)
  {
    Error_Handler();
  }
  sMasterConfig.MasterOutputTrigger = TIM_TRGO_RESET;
  sMasterConfig.MasterSlaveMode = TIM_MASTERSLAVEMODE_DISABLE;
  if (HAL_TIMEx_MasterConfigSynchronization(&htim3, &sMasterConfig) != HAL_OK)
  {
    Error_Handler();
  }

}

static void MX_TIM4_Init(void)
{

  TIM_MasterConfigTypeDef sMasterConfig = {0};
  TIM_IC_InitTypeDef sConfigIC = {0};

  htim4.Instance = TIM4;
  htim4.Init.Prescaler = 16-1;
  htim4.Init.CounterMode = TIM_COUNTERMODE_UP;
  htim4.Init.Period = 0xffff-1;
  htim4.Init.ClockDivision = TIM_CLOCKDIVISION_DIV1;
  htim4.Init.AutoReloadPreload = TIM_AUTORELOAD_PRELOAD_DISABLE;
  if (HAL_TIM_IC_Init(&htim4) != HAL_OK)
  {
    Error_Handler();
  }
  sMasterConfig.MasterOutputTrigger = TIM_TRGO_RESET;
  sMasterConfig.MasterSlaveMode = TIM_MASTERSLAVEMODE_DISABLE;
  if (HAL_TIMEx_MasterConfigSynchronization(&htim4, &sMasterConfig) != HAL_OK)
  {
    Error_Handler();
  }
  sConfigIC.ICPolarity = TIM_INPUTCHANNELPOLARITY_RISING;
  sConfigIC.ICSelection = TIM_ICSELECTION_DIRECTTI;
  sConfigIC.ICPrescaler = TIM_ICPSC_DIV1;
  sConfigIC.ICFilter = 0;
  if (HAL_TIM_IC_ConfigChannel(&htim4, &sConfigIC, TIM_CHANNEL_1) != HAL_OK)
  {
    Error_Handler();
  }

}

static void MX_TIM5_Init(void)
{

  TIM_ClockConfigTypeDef sClockSourceConfig = {0};
  TIM_MasterConfigTypeDef sMasterConfig = {0};

  htim5.Instance = TIM5;
  htim5.Init.Prescaler = 16-1;
  htim5.Init.CounterMode = TIM_COUNTERMODE_UP;
  htim5.Init.Period = 4294967295;
  htim5.Init.ClockDivision = TIM_CLOCKDIVISION_DIV1;
  htim5.Init.AutoReloadPreload = TIM_AUTORELOAD_PRELOAD_DISABLE;
  if (HAL_TIM_Base_Init(&htim5) != HAL_OK)
  {
    Error_Handler();
  }
  sClockSourceConfig.ClockSource = TIM_CLOCKSOURCE_INTERNAL;
  if (HAL_TIM_ConfigClockSource(&htim5, &sClockSourceConfig) != HAL_OK)
  {
    Error_Handler();
  }
  sMasterConfig.MasterOutputTrigger = TIM_TRGO_RESET;
  sMasterConfig.MasterSlaveMode = TIM_MASTERSLAVEMODE_DISABLE;
  if (HAL_TIMEx_MasterConfigSynchronization(&htim5, &sMasterConfig) != HAL_OK)
  {
    Error_Handler();
  }

}

static void MX_TIM8_Init(void)
{

  TIM_MasterConfigTypeDef sMasterConfig = {0};
  TIM_OC_InitTypeDef sConfigOC = {0};
  TIM_BreakDeadTimeConfigTypeDef sBreakDeadTimeConfig = {0};

  htim8.Instance = TIM8;
  htim8.Init.Prescaler = 0;
  htim8.Init.CounterMode = TIM_COUNTERMODE_UP;
  htim8.Init.Period = 7199;
  htim8.Init.ClockDivision = TIM_CLOCKDIVISION_DIV1;
  htim8.Init.RepetitionCounter = 0;
  htim8.Init.AutoReloadPreload = TIM_AUTORELOAD_PRELOAD_DISABLE;
  if (HAL_TIM_PWM_Init(&htim8) != HAL_OK)
  {
    Error_Handler();
  }
  sMasterConfig.MasterOutputTrigger = TIM_TRGO_RESET;
  sMasterConfig.MasterSlaveMode = TIM_MASTERSLAVEMODE_DISABLE;
  if (HAL_TIMEx_MasterConfigSynchronization(&htim8, &sMasterConfig) != HAL_OK)
  {
    Error_Handler();
  }
  sConfigOC.OCMode = TIM_OCMODE_PWM1;
  sConfigOC.Pulse = 0;
  sConfigOC.OCPolarity = TIM_OCPOLARITY_HIGH;
  sConfigOC.OCNPolarity = TIM_OCNPOLARITY_HIGH;
  sConfigOC.OCFastMode = TIM_OCFAST_DISABLE;
  sConfigOC.OCIdleState = TIM_OCIDLESTATE_RESET;
  sConfigOC.OCNIdleState = TIM_OCNIDLESTATE_RESET;
  if (HAL_TIM_PWM_ConfigChannel(&htim8, &sConfigOC, TIM_CHANNEL_1) != HAL_OK)
  {
    Error_Handler();
  }
  if (HAL_TIM_PWM_ConfigChannel(&htim8, &sConfigOC, TIM_CHANNEL_2) != HAL_OK)
  {
    Error_Handler();
  }
  sBreakDeadTimeConfig.OffStateRunMode = TIM_OSSR_DISABLE;
  sBreakDeadTimeConfig.OffStateIDLEMode = TIM_OSSI_DISABLE;
  sBreakDeadTimeConfig.LockLevel = TIM_LOCKLEVEL_OFF;
  sBreakDeadTimeConfig.DeadTime = 0;
  sBreakDeadTimeConfig.BreakState = TIM_BREAK_DISABLE;
  sBreakDeadTimeConfig.BreakPolarity = TIM_BREAKPOLARITY_HIGH;
  sBreakDeadTimeConfig.AutomaticOutput = TIM_AUTOMATICOUTPUT_DISABLE;
  if (HAL_TIMEx_ConfigBreakDeadTime(&htim8, &sBreakDeadTimeConfig) != HAL_OK)
  {
    Error_Handler();
  }

}

static void MX_USART3_UART_Init(void)
{

  huart3.Instance = USART3;
  huart3.Init.BaudRate = 115200;
  huart3.Init.WordLength = UART_WORDLENGTH_8B;
  huart3.Init.StopBits = UART_STOPBITS_1;
  huart3.Init.Parity = UART_PARITY_NONE;
  huart3.Init.Mode = UART_MODE_TX_RX;
  huart3.Init.HwFlowCtl = UART_HWCONTROL_NONE;
  huart3.Init.OverSampling = UART_OVERSAMPLING_16;
  if (HAL_UART_Init(&huart3) != HAL_OK)
  {
    Error_Handler();
  }

}

static void MX_GPIO_Init(void)
{
  GPIO_InitTypeDef GPIO_InitStruct = {0};

  /* GPIO Ports Clock Enable */
  __HAL_RCC_GPIOE_CLK_ENABLE();
  __HAL_RCC_GPIOC_CLK_ENABLE();
  __HAL_RCC_GPIOA_CLK_ENABLE();
  __HAL_RCC_GPIOD_CLK_ENABLE();
  __HAL_RCC_GPIOB_CLK_ENABLE();

  /*Configure GPIO pin Output Level */
  HAL_GPIO_WritePin(GPIOE, OLED_SCL_Pin|OLED_SDA_Pin|OLED_RST_Pin|OLED_DC_Pin
                          |LED3_Pin, GPIO_PIN_RESET);

  /*Configure GPIO pin Output Level */
  HAL_GPIO_WritePin(GPIOA, AIN2_Pin|AIN1_Pin|BIN1_Pin|BIN2_Pin, GPIO_PIN_RESET);

  /*Configure GPIO pin Output Level */
  HAL_GPIO_WritePin(TRIG_GPIO_Port, TRIG_Pin, GPIO_PIN_RESET);

  /*Configure GPIO pins : OLED_SCL_Pin OLED_SDA_Pin OLED_RST_Pin OLED_DC_Pin
                           LED3_Pin */
  GPIO_InitStruct.Pin = OLED_SCL_Pin|OLED_SDA_Pin|OLED_RST_Pin|OLED_DC_Pin
                          |LED3_Pin;
  GPIO_InitStruct.Mode = GPIO_MODE_OUTPUT_PP;
  GPIO_InitStruct.Pull = GPIO_NOPULL;
  GPIO_InitStruct.Speed = GPIO_SPEED_FREQ_LOW;
  HAL_GPIO_Init(GPIOE, &GPIO_InitStruct);

  /*Configure GPIO pins : AIN2_Pin AIN1_Pin BIN1_Pin BIN2_Pin */
  GPIO_InitStruct.Pin = AIN2_Pin|AIN1_Pin|BIN1_Pin|BIN2_Pin;
  GPIO_InitStruct.Mode = GPIO_MODE_OUTPUT_PP;
  GPIO_InitStruct.Pull = GPIO_NOPULL;
  GPIO_InitStruct.Speed = GPIO_SPEED_FREQ_HIGH;
  HAL_GPIO_Init(GPIOA, &GPIO_InitStruct);

  /*Configure GPIO pin : USRBUT_Pin */
  GPIO_InitStruct.Pin = USRBUT_Pin;
  GPIO_InitStruct.Mode = GPIO_MODE_INPUT;
  GPIO_InitStruct.Pull = GPIO_NOPULL;
  HAL_GPIO_Init(USRBUT_GPIO_Port, &GPIO_InitStruct);

  /*Configure GPIO pin : TRIG_Pin */
  GPIO_InitStruct.Pin = TRIG_Pin;
  GPIO_InitStruct.Mode = GPIO_MODE_OUTPUT_PP;
  GPIO_InitStruct.Pull = GPIO_NOPULL;
  GPIO_InitStruct.Speed = GPIO_SPEED_FREQ_LOW;
  HAL_GPIO_Init(TRIG_GPIO_Port, &GPIO_InitStruct);

}

/* USER CODE BEGIN 4 */
void HAL_UART_RxCpltCallback(UART_HandleTypeDef *huart)
{
	/*Prevent unused argument(s) compilation warning*/
	UNUSED(huart);
	HAL_UART_Transmit(&huart3,(uint8_t *)aRxBuffer,10,0xFFFF); //might not nd
}
/* USER CODE END 4 */

void StartDefaultTask(void *argument)
{
  /* USER CODE BEGIN 5 */
	uint8_t test[20] = "Testing";
	uint8_t ultra[20];
	uint8_t checkPi[1];

	/* Infinite loop */
	for(;;)
	{
		HAL_UART_Receive_IT(&huart3, (uint8_t *) aRxBuffer, 1);
		OLED_ShowString(5,5,test);
//		sprintf(checkPi, "Pi cmd: %s\0", aRxBuffer);
//		OLED_ShowString(10, 20, checkPi);
		ultraDistCheck();
		HAL_Delay(200);
		sprintf(ultra, "uDistF: %u\0", uDistFinal);
		OLED_ShowString(10, 50, ultra);

		irLeft();
		HAL_Delay(100);
		sprintf(ultra, "IR left: %u\0", ir1Dist);
		OLED_ShowString(10, 30, ultra);

		irRight();
		HAL_Delay(100);
		sprintf(ultra, "IR right: %u\0", ir2Dist);
		OLED_ShowString(10, 40, ultra);

		OLED_Refresh_Gram();
		//	  HAL_GPIO_TogglePin(LED3_GPIO_Port, LED3_Pin);
		osDelay(100);
	}
  /* USER CODE END 5 */
}

void motor(void *argument)
{
  /* USER CODE BEGIN motor */
	HAL_TIM_PWM_Start(&htim8, TIM_CHANNEL_1);
	HAL_TIM_PWM_Start(&htim8, TIM_CHANNEL_2);
	HAL_TIM_PWM_Start(&htim1, TIM_CHANNEL_4);

	*aRxBuffer = '\0';
		for(;;)
		  {
			switch (*aRxBuffer)
			{
			case '\0': // initialize
				HAL_UART_Receive_IT(&huart3, (uint8_t *)aRxBuffer, 1);
				break;
			case 'K':
				HAL_UART_Transmit_IT(&huart3,(uint8_t *)"OK?\n",4);
				osDelay(50);
				*aRxBuffer = 'Z';
				break;
			case 'U':
				ultraDistCheck();
				HAL_Delay(200);
				char reply[] = "000\n";
				reply[0] += uDistFinal / 100 % 10;
				reply[1] += uDistFinal / 10 % 10;
				reply[2] += uDistFinal % 10;
				if (uDistFinal > 999)
					reply[0] = '9';
				HAL_UART_Transmit_IT(&huart3, (uint8_t *)reply, strlen(reply));
				osDelay(50);
				*aRxBuffer = 'Z';
				break;
			//========================Forward========================
			case '9':
				PIDmotor(100);break;
			case '0':
				PIDmotor(10);break;
			case '1':
				PIDmotor(20);break;
			case '2':
				PIDmotor(30);break;
			case '3':
				PIDmotor(40);break;
			case '4':
				PIDmotor(50);break;
			case '5':
				PIDmotor(60);break;
			case '6':
				PIDmotor(70);break;
			case '7':
				PIDmotor(80);break;
			case '8':
				PIDmotor(90);break;
			//========================Reverse========================
			case 33:
				PIDmotor(-10);break;
			case 34:
				PIDmotor(-20);break;
			case 35:
				PIDmotor(-30);break;
			case 36:
				PIDmotor(-40);break;
			case 37:
				PIDmotor(-50);break;
			case 38:
				PIDmotor(-60);break;
			case 39:
				PIDmotor(-70);break;
			case 40:
				PIDmotor(-80);break;
			case 41:
				PIDmotor(-90);break;
			case 42:
				PIDmotor(-100);break;
			//========================Turn========================
//			case 'L':
//				htim1.Instance->CCR4 = CENTER;
//				HAL_Delay(500);
//				htim1.Instance->CCR4 = LEFT;
//				HAL_Delay(500);
//				PIDturn(30,1);
//				htim1.Instance->CCR4 = RIGHT;
//				HAL_Delay(500);
//				PIDturn(-28,2);
//				htim1.Instance->CCR4 = LEFT;
//				HAL_Delay(500);
//				PIDturn(30,1);
//				PIDmotor(4.5); //Forward to fit into 10x10 grid
//				break;
//
//			case 'R':
//				htim1.Instance->CCR4 = CENTER;
//				HAL_Delay(500);
//				htim1.Instance->CCR4 = RIGHT;
//				HAL_Delay(500);
//				PIDturn(30,2);
//				htim1.Instance->CCR4 = LEFT;
//				HAL_Delay(500);
//				PIDturn(-28,1);
//				htim1.Instance->CCR4 = RIGHT;
//				HAL_Delay(500);
//				PIDturn(30.2,2);
//				PIDmotor(4.5); //Forward to fit into 10x10 grid
//				break;
			case 'Q':	//LEFT
				htim1.Instance->CCR4 = RIGHT;
				HAL_Delay(500);
				htim1.Instance->CCR4 = LEFT;
				HAL_Delay(500);
				PIDturn(90,1);
				PIDmotor(8);
				break;
			case 'E':	//RIGHT
				htim1.Instance->CCR4 = LEFT;
				HAL_Delay(500);
				htim1.Instance->CCR4 = RIGHT;
				HAL_Delay(500);
				PIDturn(90,2);
				PIDmotor(6);
				break;
			case 'L':	//sharper left
				htim1.Instance->CCR4 = CENTER;
				HAL_Delay(500);
				htim1.Instance->CCR4 = LEFT-12;
				HAL_Delay(500);
				PIDturn(32,1);
				htim1.Instance->CCR4 = RIGHT+2;
				HAL_Delay(500);
				PIDturn(-24,2);
				htim1.Instance->CCR4 = LEFT-12;
				HAL_Delay(500);
				PIDturn(19,1);
				htim1.Instance->CCR4 = CENTER;
				break;
			case 'R':	//sharper right
				htim1.Instance->CCR4 = CENTER;
				HAL_Delay(500);
				htim1.Instance->CCR4 = RIGHT+3;
//				*aRxBuffer = 'Z';
				HAL_Delay(500);
				PIDturn(32,2);
				htim1.Instance->CCR4 = LEFT-9;
				HAL_Delay(500);
				PIDturn(-29,1);
				htim1.Instance->CCR4 = RIGHT+3;
				HAL_Delay(500);
				PIDturn(21,2);
				htim1.Instance->CCR4 = CENTER;
				break;

			/* Test Cases */
			case 'V':
				correction();
				break;
			case 'W':
				PIDmotor(-100);
				break;
			case 'X':
				ultraDistCheck();
				irLeft();
				irRight();
				break;
			case 'Y':
				HAL_TIM_Encoder_Start(&htim2, TIM_CHANNEL_ALL);		//left encoder(MotorA) start
				HAL_TIM_Encoder_Start(&htim3, TIM_CHANNEL_ALL);		//right encoder(MotorB) start
				while(1){
				readEncoder();}
				break;
			case 'Z':
				waitCmd();
				break;
			default:
				*aRxBuffer = 'Z';
				break;
			}
			HAL_Delay(100);
			HAL_UART_Transmit_IT(&huart3,(uint8_t *)"OK",2);
		  }

	osDelay(1000);
  /* USER CODE END motor */
}

void Error_Handler(void)
{
  __disable_irq();
  while (1)
  {
  }
}
